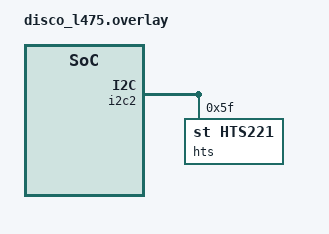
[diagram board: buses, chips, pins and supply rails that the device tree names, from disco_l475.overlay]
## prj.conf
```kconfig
# Enable network stack
CONFIG_NETWORKING=y
CONFIG_NET_LOG=y

# Enable IPv4
CONFIG_NET_IPV4=y

# Enable IPv6
CONFIG_NET_IPV6=y

# Enable TCP
CONFIG_NET_TCP=y

# Enable DHCP
CONFIG_NET_DHCPV4=y

# Enable Sockets (used by MQTT lib)
CONFIG_NET_SOCKETS=y
CONFIG_NET_SOCKETS_SOCKOPT_TLS=y

# Enable MQTT
CONFIG_MQTT_LIB=y
CONFIG_MQTT_LIB_TLS=y

# Enable Mbed TLS
#CONFIG_MBEDTLS=y
#CONFIG_MBEDTLS_BUILTIN=y
#CONFIG_MBEDTLS_ENABLE_HEAP=y
#CONFIG_MBEDTLS_HEAP_SIZE=60000
#CONFIG_MBEDTLS_SSL_MAX_CONTENT_LEN=16384
#CONFIG_MBEDTLS_PEM_CERTIFICATE_FORMAT=y
#CONFIG_MBEDTLS_SERVER_NAME_INDICATION=y

# Enable JSON
CONFIG_JSON_LIBRARY=y

# Enable net conn manager
CONFIG_NET_CONNECTION_MANAGER=y

# Enable device hostname
CONFIG_NET_HOSTNAME_ENABLE=y

# Enable Posix API functionality
CONFIG_POSIX_API=y

# Enable sensor API
CONFIG_SENSOR=y

# Enable LED API
CONFIG_LED=y

# Main stack size
CONFIG_MAIN_STACK_SIZE=2048

# System work queue stack size
CONFIG_SYSTEM_WORKQUEUE_STACK_SIZE=2048

# Increase Rx net buffers
CONFIG_NET_BUF_RX_COUNT=100

CONFIG_NET_SAMPLE_MQTT_QOS_0_AT_MOST_ONCE=y

CONFIG_WIFI_CREDENTIALS_STATIC_SSID="Utsav"
CONFIG_WIFI_CREDENTIALS_STATIC_PASSWORD="utsav12345"


CONFIG_WIFI=y
#CONFIG_WIFI_ESWIFI=y
CONFIG_NETWORKING=y
CONFIG_NET_SOCKETS=y
CONFIG_NET_SOCKETS_OFFLOAD=y
#CONFIG_NET_TLS=y
CONFIG_NET_SOCKETS_SOCKOPT_TLS=y
#CONFIG_NET_SOCKETS_OFFLOAD=y
#CONFIG_NET_OFFLOAD=y


CONFIG_NET_DHCPV4=y

CONFIG_NET_CONFIG_SETTINGS=y

CONFIG_NET_L2_ETHERNET=y
```

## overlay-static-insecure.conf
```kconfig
# Config to disable TLS and DHCPv4, allowing insecure MQTT and a static IP address.
# This allows quick testing of the application without need for a DHCP server or secure MQTT broker set up.
# Only recommended for quick sampling/testing.
# Usage: west build -b <board> -- -DEXTRA_CONF_FILE=overlay-static-insecure.conf

# Disable MQTT with TLS
CONFIG_MQTT_LIB_TLS=n

# Disable DHCP
CONFIG_NET_DHCPV4=n

# Insecure MQTT uses port 1883
CONFIG_NET_SAMPLE_MQTT_BROKER_PORT="1883"

# Static IP address config
CONFIG_NET_CONFIG_SETTINGS=y
CONFIG_NET_CONFIG_MY_IPV4_ADDR="192.0.2.1"
#CONFIG_NET_SAMPLE_MQTT_BROKER_HOSTNAME="192.0.2.2"
CONFIG_NET_SAMPLE_MQTT_BROKER_HOSTNAME="io.adafruit.com"
```

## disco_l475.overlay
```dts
&i2c2 {
        status = "okay";

        /* HTS221 @ 0x5F */
        hts: hts221@5f {
                compatible = "st,hts221";
                reg = <0x5f>;
                /* adjust to your actual DRDY pin if you want an IRQ */
                /* drdy-gpios = <&gpiod 15 GPIO_ACTIVE_HIGH>; */
                status = "okay";
        };
};


/{
	aliases{
		ambient_temp0=hts;
	};
};
```

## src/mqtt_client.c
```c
/*
 * Copyright (c) 2024 Analog Devices, Inc.
 *
 * SPDX-License-Identifier: Apache-2.0
 */

#include <zephyr/logging/log.h>
LOG_MODULE_REGISTER(app_mqtt, LOG_LEVEL_DBG);

#include <zephyr/kernel.h>
#include <zephyr/net/socket.h>
#include <zephyr/net/mqtt.h>
#include <zephyr/data/json.h>
#include <zephyr/random/random.h>

#include "mqtt_client.h"
#include "device.h"

#define USERNAME      "uj742"
#define AIO_KEY       "ADAFRUIT_IO_KEY_REDACTED"
#define FEED_TOPIC    USERNAME "/feeds/audiosatatus"


/* Buffers for MQTT client */
static uint8_t rx_buffer[CONFIG_NET_SAMPLE_MQTT_PAYLOAD_SIZE];
static uint8_t tx_buffer[CONFIG_NET_SAMPLE_MQTT_PAYLOAD_SIZE];

/* MQTT payload buffer */
static uint8_t payload_buf[CONFIG_NET_SAMPLE_MQTT_PAYLOAD_SIZE];

/* MQTT broker details */
static struct sockaddr_storage broker;

/* Socket descriptor */
static struct zsock_pollfd fds[1];
static int nfds;

/* JSON payload format */
static const struct json_obj_descr sensor_sample_descr[] = {
	JSON_OBJ_DESCR_PRIM(struct sensor_sample, unit, JSON_TOK_STRING),
	JSON_OBJ_DESCR_PRIM(struct sensor_sample, value, JSON_TOK_NUMBER),
};

/* MQTT connectivity status flag */
bool mqtt_connected;

/* MQTT client ID buffer */
static uint8_t client_id[50];

#if defined(CONFIG_MQTT_LIB_TLS)
#include "tls_config/cert.h"

/* This should match the CN field in the server's CA cert */
#define TLS_SNI_HOSTNAME	CONFIG_NET_SAMPLE_MQTT_BROKER_HOSTNAME
#define APP_CA_CERT_TAG		1

static const sec_tag_t m_sec_tags[] = {
	APP_CA_CERT_TAG,
};

/** Register CA certificate for TLS */
static int tls_init(void)
{
	int rc;

	rc = tls_credential_add(APP_CA_CERT_TAG, TLS_CREDENTIAL_CA_CERTIFICATE,
				 ca_certificate, sizeof(ca_certificate));
	if (rc < 0) {
		LOG_ERR("Failed to register public certificate: %d", rc);
		return rc;
	}

	return rc;
}
#endif

static void prepare_fds(struct mqtt_client *client)
{
	if (client->transport.type == MQTT_TRANSPORT_NON_SECURE) {
		fds[0].fd = client->transport.tcp.sock;
	}
#if defined(CONFIG_MQTT_LIB_TLS)
	else if (client->transport.type == MQTT_TRANSPORT_SECURE) {
		fds[0].fd = client->transport.tls.sock;
	}
#endif

	fds[0].events = ZSOCK_POLLIN;
	nfds = 1;
}

static void clear_fds(void)
{
	nfds = 0;
}

/** Initialise the MQTT client ID as the board name with random hex postfix */
static void init_mqtt_client_id(void)
{
	snprintk(client_id, sizeof(client_id), CONFIG_BOARD"_%x", (uint8_t)sys_rand32_get());
}

static inline void on_mqtt_connect(void)
{
	mqtt_connected = true;
	device_write_led(LED_NET, LED_ON);
	LOG_INF("Connected to MQTT broker!");
	LOG_INF("Hostname: %s", CONFIG_NET_SAMPLE_MQTT_BROKER_HOSTNAME);
	LOG_INF("Client ID: %s", client_id);
	LOG_INF("Port: %s", CONFIG_NET_SAMPLE_MQTT_BROKER_PORT);
	LOG_INF("TLS: %s",
		IS_ENABLED(CONFIG_MQTT_LIB_TLS) ? "Enabled" : "Disabled");
}

static inline void on_mqtt_disconnect(void)
{
	mqtt_connected = false;
	clear_fds();
	device_write_led(LED_NET, LED_OFF);
	LOG_INF("Disconnected from MQTT broker");
}

/** Called when an MQTT payload is received.
 *  Reads the payload and calls the commands
 *  handler if a payloads is received on the
 *  command topic
 */
static void on_mqtt_publish(struct mqtt_client *const client, const struct mqtt_evt *evt)
{
	int rc;
	uint8_t payload[CONFIG_NET_SAMPLE_MQTT_PAYLOAD_SIZE];

	rc = mqtt_read_publish_payload(client, payload,
					CONFIG_NET_SAMPLE_MQTT_PAYLOAD_SIZE);
	if (rc < 0) {
		LOG_ERR("Failed to read received MQTT payload [%d]", rc);
		return;
	}
	/* Place null terminator at end of payload buffer */
	payload[rc] = '\0';

	LOG_INF("MQTT payload received!");
	LOG_INF("topic: '%s', payload: %s",
		evt->param.publish.message.topic.topic.utf8, payload);

	/* If the topic is a command, call the command handler  */
	if (strcmp(evt->param.publish.message.topic.topic.utf8,
			CONFIG_NET_SAMPLE_MQTT_SUB_TOPIC_CMD) == 0) {
		device_command_handler(payload);
	}
}

/** Handler for asynchronous MQTT events */
static void mqtt_event_handler(struct mqtt_client *const client, const struct mqtt_evt *evt)
{
	switch (evt->type) {
	case MQTT_EVT_CONNACK:
		if (evt->result != 0) {
			LOG_ERR("MQTT Event Connect failed [%d]", evt->result);
			break;
		}
		on_mqtt_connect();
		break;

	case MQTT_EVT_DISCONNECT:
		on_mqtt_disconnect();
		break;

	case MQTT_EVT_PINGRESP:
		LOG_INF("PINGRESP packet");
		break;

	case MQTT_EVT_PUBACK:
		if (evt->result != 0) {
			LOG_ERR("MQTT PUBACK error [%d]", evt->result);
			break;
		}

		LOG_INF("PUBACK packet ID: %u", evt->param.puback.message_id);
		break;

	case MQTT_EVT_PUBREC:
		if (evt->result != 0) {
			LOG_ERR("MQTT PUBREC error [%d]", evt->result);
			break;
		}

		LOG_INF("PUBREC packet ID: %u", evt->param.pubrec.message_id);

		const struct mqtt_pubrel_param rel_param = {
			.message_id = evt->param.pubrec.message_id
		};

		mqtt_publish_qos2_release(client, &rel_param);
		break;

	case MQTT_EVT_PUBREL:
		if (evt->result != 0) {
			LOG_ERR("MQTT PUBREL error [%d]", evt->result);
			break;
		}

		LOG_INF("PUBREL packet ID: %u", evt->param.pubrel.message_id);

		const struct mqtt_pubcomp_param rec_param = {
			.message_id = evt->param.pubrel.message_id
		};

		mqtt_publish_qos2_complete(client, &rec_param);
		break;

	case MQTT_EVT_PUBCOMP:
		if (evt->result != 0) {
			LOG_ERR("MQTT PUBCOMP error %d", evt->result);
			break;
		}

		LOG_INF("PUBCOMP packet ID: %u", evt->param.pubcomp.message_id);
		break;

	case MQTT_EVT_SUBACK:
		if (evt->result == MQTT_SUBACK_FAILURE) {
			LOG_ERR("MQTT SUBACK error [%d]", evt->result);
			break;
		}

		LOG_INF("SUBACK packet ID: %d", evt->param.suback.message_id);
		break;

	case MQTT_EVT_PUBLISH:
		const struct mqtt_publish_param *p = &evt->param.publish;

		if (p->message.topic.qos == MQTT_QOS_1_AT_LEAST_ONCE) {
			const struct mqtt_puback_param ack_param = {
				.message_id = p->message_id
			};
			mqtt_publish_qos1_ack(client, &ack_param);
		} else if (p->message.topic.qos == MQTT_QOS_2_EXACTLY_ONCE) {
			const struct mqtt_pubrec_param rec_param = {
				.message_id = p->message_id
			};
			mqtt_publish_qos2_receive(client, &rec_param);
		}

		on_mqtt_publish(client, evt);

	default:
		break;
	}
}

/** Poll the MQTT socket for received data */
static int poll_mqtt_socket(struct mqtt_client *client, int timeout)
{
	int rc;

	prepare_fds(client);

	if (nfds <= 0) {
		return -EINVAL;
	}

	rc = zsock_poll(fds, nfds, timeout);
	if (rc < 0) {
		LOG_ERR("Socket poll error [%d]", rc);
	}

	return rc;
}

/** Retrieves a sensor sample and encodes it in JSON format */
static int get_mqtt_payload(struct mqtt_binstr *payload)
{
	int rc;
	struct sensor_sample sample;

	rc = device_read_sensor(&sample);
	if (rc != 0) {
		LOG_ERR("Failed to get sensor sample [%d]", rc);
		return rc;
	}

	rc = json_obj_encode_buf(sensor_sample_descr, ARRAY_SIZE(sensor_sample_descr),
					&sample, payload_buf, CONFIG_NET_SAMPLE_MQTT_PAYLOAD_SIZE);
	if (rc != 0) {
		LOG_ERR("Failed to encode JSON object [%d]", rc);
		return rc;
	}

	payload->data = payload_buf;
	payload->len = strlen(payload->data);

	return rc;
}

int app_mqtt_publish(struct mqtt_client *client)
{
	int rc;
	struct mqtt_publish_param param;
	struct mqtt_binstr payload;
	static uint16_t msg_id = 1;
	struct mqtt_topic topic = {
		.topic = {
		//	.utf8 = CONFIG_NET_SAMPLE_MQTT_PUB_TOPIC,
			.utf8 = FEED_TOPIC,
			.size = strlen(topic.topic.utf8)
		},
		.qos = IS_ENABLED(CONFIG_NET_SAMPLE_MQTT_QOS_0_AT_MOST_ONCE) ? 0 :
			(IS_ENABLED(CONFIG_NET_SAMPLE_MQTT_QOS_1_AT_LEAST_ONCE) ? 1 : 2)
	};

	rc = get_mqtt_payload(&payload);
	if (rc != 0) {
		LOG_ERR("Failed to get MQTT payload [%d]", rc);
	}

	param.message.topic = topic;
	param.message.payload = payload;
	param.message_id = msg_id++;
	param.dup_flag = 0;
	param.retain_flag = 0;

	rc = mqtt_publish(client, &param);
	if (rc != 0) {
		LOG_ERR("MQTT Publish failed [%d]", rc);
	}

	LOG_INF("Published to topic '%s', QoS %d",
			param.message.topic.topic.utf8,
			param.message.topic.qos);

	return rc;
}

int app_mqtt_subscribe(struct mqtt_client *client)
{
	int rc;
	struct mqtt_topic sub_topics[] = {
		{
			.topic = {
				.utf8 = CONFIG_NET_SAMPLE_MQTT_SUB_TOPIC_CMD,
				.size = strlen(sub_topics->topic.utf8)
			},
			.qos = IS_ENABLED(CONFIG_NET_SAMPLE_MQTT_QOS_0_AT_MOST_ONCE) ? 0 :
				(IS_ENABLED(CONFIG_NET_SAMPLE_MQTT_QOS_1_AT_LEAST_ONCE) ? 1 : 2)
		}
	};
	const struct mqtt_subscription_list sub_list = {
		.list = sub_topics,
		.list_count = ARRAY_SIZE(sub_topics),
		.message_id = 5841u
	};

	LOG_INF("Subscribing to %d topic(s)", sub_list.list_count);

	rc = mqtt_subscribe(client, &sub_list);
	if (rc != 0) {
		LOG_ERR("MQTT Subscribe failed [%d]", rc);
	}

	return rc;
}

/** Process incoming MQTT data and keep the connection alive*/
int app_mqtt_process(struct mqtt_client *client)
{
	int rc;

	rc = poll_mqtt_socket(client, mqtt_keepalive_time_left(client));
	if (rc != 0) {
		if (fds[0].revents & ZSOCK_POLLIN) {
			/* MQTT data received */
			rc = mqtt_input(client);
			if (rc != 0) {
				LOG_ERR("MQTT Input failed [%d]", rc);
				return rc;
			}
			/* Socket error */
			if (fds[0].revents & (ZSOCK_POLLHUP | ZSOCK_POLLERR)) {
				LOG_ERR("MQTT socket closed / error");
				return -ENOTCONN;
			}
		}
	} else {
		/* Socket poll timed out, time to call mqtt_live() */
		rc = mqtt_live(client);
		if (rc != 0) {
			LOG_ERR("MQTT Live failed [%d]", rc);
			return rc;
		}
	}

	return 0;
}

void app_mqtt_run(struct mqtt_client *client)
{
	int rc;

	/* Subscribe to MQTT topics */
	app_mqtt_subscribe(client);

	/* Thread will primarily remain in this loop */
	while (mqtt_connected) {
		rc = app_mqtt_process(client);
		if (rc != 0) {
			break;
		}
	}
	/* Gracefully close connection */
	mqtt_disconnect(client, NULL);
}

void app_mqtt_connect(struct mqtt_client *client)
{
	int rc = 0;

	mqtt_connected = false;

	/* Block until MQTT CONNACK event callback occurs */
	while (!mqtt_connected) {
		rc = mqtt_connect(client);
		if (rc != 0) {
			LOG_ERR("MQTT Connect failed [%d]", rc);
			k_msleep(MSECS_WAIT_RECONNECT);
			continue;
		}

		/* Poll MQTT socket for response */
		rc = poll_mqtt_socket(client, MSECS_NET_POLL_TIMEOUT);
		if (rc > 0) {
			mqtt_input(client);
		}

		if (!mqtt_connected) {
			mqtt_abort(client);
		}
	}
}

int app_mqtt_init(struct mqtt_client *client)
{
	int rc;
	uint8_t broker_ip[NET_IPV4_ADDR_LEN];
	struct sockaddr_in *broker4;
	struct addrinfo *result;
	const struct addrinfo hints = {
		.ai_family = AF_INET,
		.ai_socktype = SOCK_STREAM
	};

	/* Resolve IP address of MQTT broker */
	rc = getaddrinfo(CONFIG_NET_SAMPLE_MQTT_BROKER_HOSTNAME,
				CONFIG_NET_SAMPLE_MQTT_BROKER_PORT, &hints, &result);
	if (rc != 0) {
		LOG_ERR("Failed to resolve broker hostname [%s]", gai_strerror(rc));
		return -EIO;
	}
	if (result == NULL) {
		LOG_ERR("Broker address not found");
		return -ENOENT;
	}

	broker4 = (struct sockaddr_in *)&broker;
	broker4->sin_addr.s_addr = ((struct sockaddr_in *)result->ai_addr)->sin_addr.s_addr;
	broker4->sin_family = AF_INET;
	broker4->sin_port = ((struct sockaddr_in *)result->ai_addr)->sin_port;
	freeaddrinfo(result);

	/* Log resolved IP address */
	inet_ntop(AF_INET, &broker4->sin_addr.s_addr, broker_ip, sizeof(broker_ip));
	LOG_INF("Connecting to MQTT broker @ %s", broker_ip);
        static struct mqtt_utf8 username;
        static struct mqtt_utf8 password;

        username.utf8 = (uint8_t *)USERNAME;
        username.size = strlen(USERNAME);
        password.utf8 = (uint8_t *)AIO_KEY;
        password.size = strlen(AIO_KEY);

	/* MQTT client configuration */
	init_mqtt_client_id();
	mqtt_client_init(client);
	client->broker = &broker;
	client->evt_cb = mqtt_event_handler;
	client->client_id.utf8 = client_id;
	client->client_id.size = strlen(client->client_id.utf8);
	client->password = &password;
	client->user_name = &username;
	client->protocol_version = MQTT_VERSION_3_1_1;

	/* MQTT buffers configuration */
	client->rx_buf = rx_buffer;
	client->rx_buf_size = sizeof(rx_buffer);
	client->tx_buf = tx_buffer;
	client->tx_buf_size = sizeof(tx_buffer);

	/* MQTT transport configuration */
#if defined(CONFIG_MQTT_LIB_TLS)
	struct mqtt_sec_config *tls_config;

	client->transport.type = MQTT_TRANSPORT_SECURE;

	rc = tls_init();
	if (rc != 0) {
		LOG_ERR("TLS init error");
		return rc;
	}

	tls_config = &client->transport.tls.config;
	tls_config->peer_verify = TLS_PEER_VERIFY_REQUIRED;
	tls_config->cipher_list = NULL;
	tls_config->sec_tag_list = m_sec_tags;
	tls_config->sec_tag_count = ARRAY_SIZE(m_sec_tags);
#if defined(CONFIG_MBEDTLS_SERVER_NAME_INDICATION)
	tls_config->hostname = TLS_SNI_HOSTNAME;
#else
	tls_config->hostname = NULL;
#endif /* CONFIG_MBEDTLS_SERVER_NAME_INDICATION */
#endif /* CONFIG_MQTT_LIB_TLS */

	return rc;
}
```
